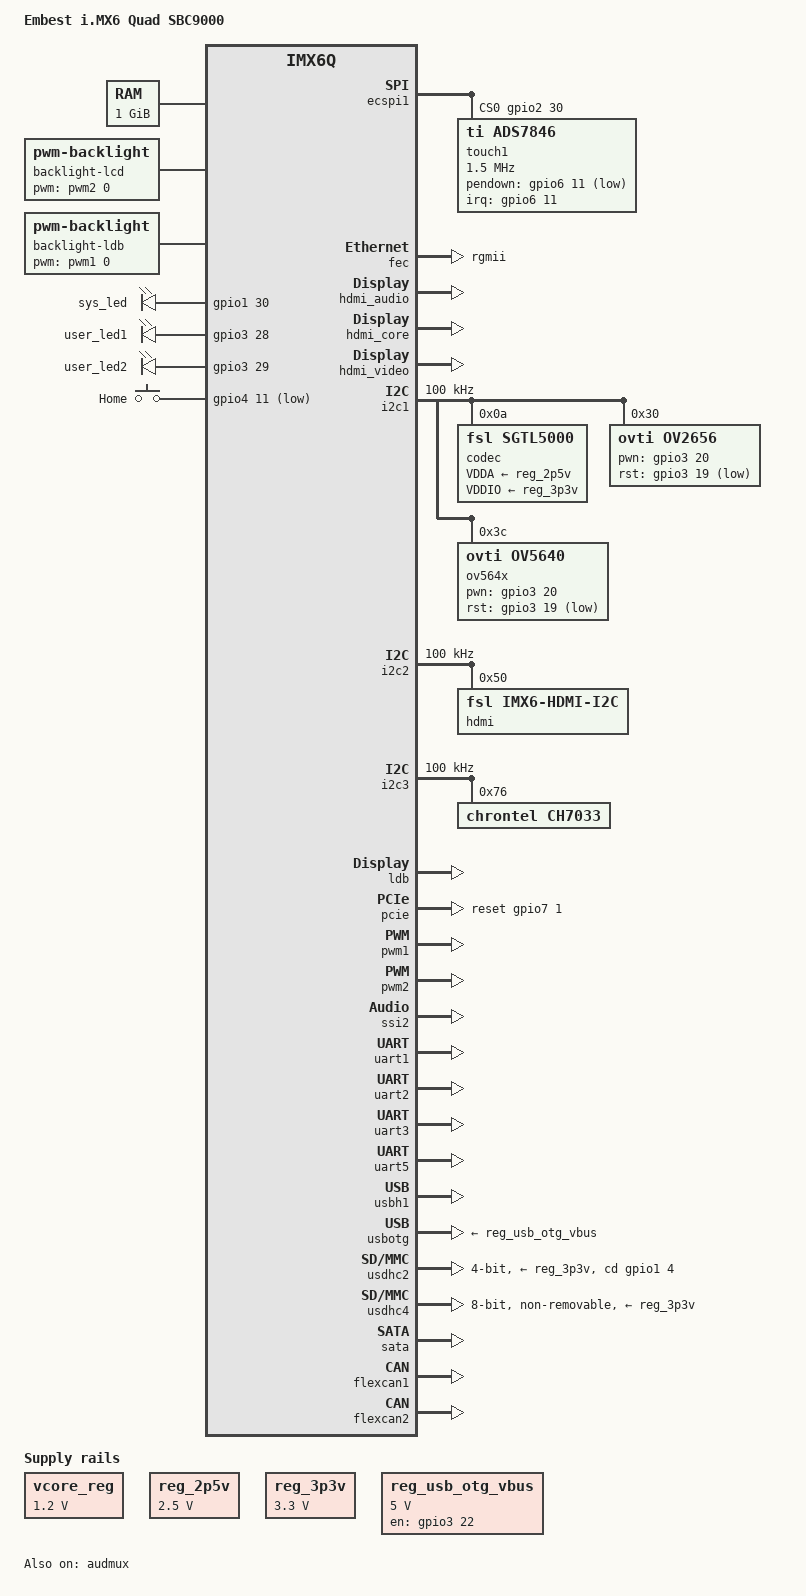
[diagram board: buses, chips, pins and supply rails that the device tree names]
/*
 * Copyright 2013 Timesys
 * Copyright 2012 Freescale Semiconductor, Inc.
 * Copyright 2011 Linaro Ltd.
 *
 * The code contained herein is licensed under the GNU General Public
 * License. You may obtain a copy of the GNU General Public License
 * Version 2 or later at the following locations:
 *
 * http://www.opensource.org/licenses/gpl-license.html
 * http://www.gnu.org/copyleft/gpl.html
 */

/dts-v1/;

#include "imx6q.dtsi"

/ {
        model = "Embest i.MX6 Quad SBC9000";
        compatible = "fsl,imx6q-sbc9000", "fsl,imx6q";

	aliases {
		mxcfb0 = &mxcfb1;
		mxcfb1 = &mxcfb2;
		mxcfb2 = &mxcfb3;
		mxcfb3 = &mxcfb4;
	};

	memory {
		reg = <0x10000000 0x40000000>;
	};

	regulators {
		compatible = "simple-bus";

		vcore_reg: vcore {
			compatible = "regulator-fixed";
			regulator-name = "vcore";
			regulator-min-microvolt = <1200000>;
			regulator-max-microvolt = <1200000>;
		};

                reg_2p5v: 2p5v {
                        compatible = "regulator-fixed";
                        regulator-name = "2P5V";
                        regulator-min-microvolt = <2500000>;
                        regulator-max-microvolt = <2500000>;
                        regulator-always-on;
                };

                reg_3p3v: 3p3v {
                        compatible = "regulator-fixed";
                        regulator-name = "3P3V";
                        regulator-min-microvolt = <3300000>;
                        regulator-max-microvolt = <3300000>;
                        regulator-always-on;
                };

		reg_usb_otg_vbus: usb_otg_vbus {
			compatible = "regulator-fixed";
			regulator-name = "usb_otg_vbus";
			regulator-min-microvolt = <5000000>;
			regulator-max-microvolt = <5000000>;
			gpio = <&gpio3 22 0>;
			enable-active-high;
		};

	};

	sound-hdmi {
		compatible = "fsl,imx6q-audio-hdmi",
			     "fsl,imx-audio-hdmi";
		model = "imx-audio-hdmi";
		hdmi-controller = <&hdmi_audio>;
	};

        sound {
                compatible = "fsl,imx6q-sbc9000-sgtl5000",
                             "fsl,imx-audio-sgtl5000";
                model = "imx6q-sgtl5000";
                ssi-controller = <&ssi2>;
                audio-codec = <&codec>;
                audio-routing =
                        "MIC_IN", "Mic Jack",
                        "Mic Jack", "Mic Bias",
                        "Headphone Jack", "HP_OUT";
                mux-int-port = <2>;
                mux-ext-port = <3>;
        };

	mxcfb1: fb@0 {
                compatible = "fsl,mxc_sdc_fb";
                disp_dev = "lcd";
                interface_pix_fmt = "RGB24";
                mode_str ="4.3inch_LCD";
                default_bpp = <32>;
                int_clk = <0>;
                late_init = <0>;
                status = "disabled";
	};

	mxcfb2: fb@1 {
                compatible = "fsl,mxc_sdc_fb";
                disp_dev = "ldb";
                interface_pix_fmt = "RGB666";
                mode_str ="LDB-XGA";
                default_bpp = <16>;
                int_clk = <0>;
                late_init = <0>;
                status = "disabled";
	};

	mxcfb3: fb@2 {
		compatible = "fsl,mxc_sdc_fb";
		disp_dev = "lcd";
		interface_pix_fmt = "RGB24";
		mode_str ="4.3inch_LCD";
		default_bpp = <32>;
		int_clk = <0>;
		late_init = <0>;
		status = "disabled";
	};

        mxcfb4: fb@3 {
                compatible = "fsl,mxc_sdc_fb";
                disp_dev = "ldb";
                interface_pix_fmt = "RGB666";
                mode_str ="LDB-XGA";
                default_bpp = <16>;
                int_clk = <0>;
                late_init = <0>;
                status = "disabled";
        };

	lcd@0 {
		compatible = "fsl,lcd";
		ipu_id = <0>;
		disp_id = <0>;
		default_ifmt = "RGB565";
		pinctrl-names = "default";
		pinctrl-0 = <&pinctrl_ipu1_1>;
		status = "okay";
	};

        backlight-lcd {
                compatible = "pwm-backlight";
                pwms = <&pwm2 0 5000000>;
                brightness-levels = <0 4 8 16 32 64 128 255>;
                default-brightness-level = <7>;
        };

        backlight-ldb {
                        compatible = "pwm-backlight";
                        pwms = <&pwm1 0 5000000>;
                        brightness-levels = <0 4 8 16 32 64 128 255>;
                        default-brightness-level = <7>;
        };

	/* There are camera connect pins on the expansion port */
	v4l2_cap_0 {
		compatible = "fsl,imx6q-v4l2-capture";
		ipu_id = <0>;
		csi_id = <0>;
		mclk_source = <0>;
		status = "okay";
	};

	v4l2_out {
		compatible = "fsl,mxc_v4l2_output";
		status = "okay";
	};

	hannstar_cabc {
		compatible = "hannstar,cabc";

		lvds0 {
			gpios = <&gpio7 12 GPIO_ACTIVE_HIGH>;
		};
	};


	leds {
		compatible = "gpio-leds";

                sys_led {
                        label = "sys_led";
                        gpios = <&gpio1 30 GPIO_ACTIVE_HIGH>;
                        linux,default-trigger = "heartbeat";
                };
                user_led1 {
                        label = "user_led1";
                        gpios = <&gpio3 28 GPIO_ACTIVE_HIGH>;
                };
                user_led2 {
                        label = "user_led2";
                        gpios = <&gpio3 29 GPIO_ACTIVE_HIGH>;
                };

	};

        gpio-keys {
                compatible = "gpio-keys";
                home {
                        label = "Home";
                        gpios = <&gpio4 11 1>;
                        linux,code = <102>; /* KEY_HOME */
                        gpio-key,wakeup;
                };

        };

};

&audmux {
	pinctrl-names = "default";
	pinctrl-0 = <&pinctrl_audmux_2>;
	status = "okay";
};

&cpu0 {
	arm-supply = <&reg_arm>;
	soc-supply = <&reg_soc>;
	pu-supply = <&reg_pu>;
};

&ecspi1 {
	fsl,spi-num-chipselects = <2>;
	cs-gpios = <&gpio2 30 0>, <&gpio4 10 0>;
	pinctrl-names = "default";
	pinctrl-0 = <&pinctrl_ecspi1_1>;
	status = "okay";

	touch1: ads7846@0 {
		#address-cells = <1>;
		#size-cells = <1>;
		compatible = "ti,ads7846";
		interrupt-parent = <&gpio6>;
		interrupts = <11 2>;
		spi-max-frequency = <1500000>;
		reg = <0>;

		ti,settle-delay-usec = /bits/ 16 <150>;
		ti,keep-vref-on = /bits/ 16 <1>;
		ti,swap-xy = /bits/ 16 <1>;
		ti,x-min = /bits/ 16 <0>;
		ti,x-max = /bits/ 16 <4095>;
		ti,y-min = /bits/ 16 <0>;
		ti,y-max = /bits/ 16 <4095>;
		ti,debounce-rep = /bits/ 16 <1>;
		ti,debounce-tol = /bits/ 16 <5>;
		ti,debounce-max = /bits/ 16 <10>;
		linux,wakeup;
		pendown-gpio = <&gpio6 11 GPIO_ACTIVE_LOW>;
	};
};

&fec {
	pinctrl-names = "default";
	pinctrl-0 = <&pinctrl_enet_1>;
	phy-mode = "rgmii";
	status = "okay";
};

&gpc {
	fsl,cpu_pupscr_sw2iso = <0xf>;
	fsl,cpu_pupscr_sw = <0xf>;
	fsl,cpu_pdnscr_iso2sw = <0x1>;
	fsl,cpu_pdnscr_iso = <0x1>;
	fsl,ldo-bypass = <1>; /* use ldo-bypass, u-boot will check it and configure */
	pu-supply = <&reg_pu>;
};

&gpu {
	pu-supply = <&reg_pu>;
};

&hdmi_audio {
	status = "okay";
};

&hdmi_core {
	ipu_id = <0>;
	disp_id = <0>;
	status = "okay";
};

&hdmi_video {
	fsl,phy_reg_vlev = <0x0294>;
	fsl,phy_reg_cksymtx = <0x800d>;
	status = "okay";
};

&i2c1 {
	clock-frequency = <100000>;
	pinctrl-names = "default";
	pinctrl-0 = <&pinctrl_i2c1_2>;
	status = "okay";

        codec: sgtl5000@0a {
                compatible = "fsl,sgtl5000";
                reg = <0x0a>;
                clocks = <&clks 201>;
                VDDA-supply = <&reg_2p5v>;
                VDDIO-supply = <&reg_3p3v>;
        };

	ov2656: ov2656@30 {
		compatible = "ovti,ov2656";
		reg = <0x30>;
		pinctrl-names = "default";
		pinctrl-0 = <&pinctrl_ipu1_2>;
		clocks = <&clks 201>;
		clock-names = "csi_mclk";
		pwn-gpios = <&gpio3 20 GPIO_ACTIVE_HIGH>;   /* active high */
		rst-gpios = <&gpio3 19 GPIO_ACTIVE_LOW>;   /* active low */
		csi_id = <0>;
		mclk = <24000000>;
		mclk_source = <0>;
	};

	ov564x: ov5640@3c {
		compatible = "ovti,ov5640";
		reg = <0x3c>;
                pinctrl-names = "default";
                pinctrl-0 = <&pinctrl_ipu1_2>;
		clocks = <&clks 201>;
		clock-names = "csi_mclk";
		pwn-gpios = <&gpio3 20 GPIO_ACTIVE_HIGH>;   /* active high */
		rst-gpios = <&gpio3 19 GPIO_ACTIVE_LOW>;   /* active low */
		csi_id = <0>;
		mclk = <24000000>;
		mclk_source = <0>;
	};
};

&i2c2 {
	clock-frequency = <100000>;
	pinctrl-names = "default";
	pinctrl-0 = <&pinctrl_i2c2_2>;
	status = "okay";

	hdmi: edid@50 {
		compatible = "fsl,imx6-hdmi-i2c";
		reg = <0x50>;
	};
};

&i2c3 {
        clock-frequency = <100000>;
        pinctrl-names = "default";
        pinctrl-0 = <&pinctrl_i2c3_5>;
        status = "okay";

        ch7033@76 {
                compatible = "chrontel,ch7033";
                reg = <0x76>;
        };
};

&iomuxc {
	pinctrl-names = "default";
	pinctrl-0 = <&pinctrl_hog_1>;

	hog {
		pinctrl_hog_1: hoggrp-1 {
			fsl,pins = <
                                /* SPI1 CS0 */
                                MX6QDL_PAD_EIM_EB2__GPIO2_IO30  0x80000000
                                /* SPI1_CS1 */
                                MX6QDL_PAD_KEY_COL2__GPIO4_IO10 0x80000000
                                /* LEDS */
                                MX6QDL_PAD_ENET_TXD0__GPIO1_IO30 0x80000000
                                MX6QDL_PAD_EIM_D28__GPIO3_IO28   0x80000000
                                MX6QDL_PAD_EIM_D29__GPIO3_IO29   0x80000000
                                /* ADS7846 TOUCH INT */
                                MX6QDL_PAD_NANDF_CS0__GPIO6_IO11 0x80000000
                                /* ENET RESET */
                                MX6QDL_PAD_EIM_D31__GPIO3_IO31  0x80000000
                                /* csi */
                                MX6QDL_PAD_EIM_D19__GPIO3_IO19 0x80000000
                                MX6QDL_PAD_EIM_D20__GPIO3_IO20 0x80000000
                                /* CAM_CLK for audio & camera */
                                MX6QDL_PAD_GPIO_0__CCM_CLKO1    0x80000000
                                /* USB OTG power pin */
                                MX6QDL_PAD_EIM_D22__USB_OTG_PWR  0x80000000
                                MX6QDL_PAD_EIM_D21__USB_OTG_OC   0x80000000
                                MX6QDL_PAD_EIM_D30__USB_H1_OC    0x80000000
                                /* USDHC2 IRQ */
                                MX6QDL_PAD_GPIO_4__GPIO1_IO04   0x80000000
                                /* USDHC4 RESET */
                                MX6QDL_PAD_NANDF_ALE__GPIO6_IO08 0x80000000
                                /* BUTTON */
                                MX6QDL_PAD_KEY_ROW2__GPIO4_IO11 0x80000000
                                /* PCIE */
                                MX6QDL_PAD_SD3_DAT4__GPIO7_IO01 0x1f0b0
                                MX6QDL_PAD_SD3_DAT2__GPIO7_IO06 0x80000000
                                MX6QDL_PAD_ENET_RXD0__GPIO1_IO27 0x80000000
                                /* CAPACITIVE LED POWER_EN */
                                MX6QDL_PAD_GPIO_17__GPIO7_IO12 0x80000000
                                /* CAPACITIVE TOUCH INT */
                                MX6QDL_PAD_NANDF_CS1__GPIO6_IO14 0x80000000
                                /* CAPACITIVE LCD POWER_EN */
                                MX6QDL_PAD_ENET_TXD1__GPIO1_IO29 0x80000000

			>;
		};
	};
};

&ldb {
	ipu_id = <1>;
	disp_id = <1>;
	ext_ref = <1>;
	mode = "sep0";
	/*
	 * On the SBC9000, only LDB0 is connected.  However, the LDB
	 * driver requires that sec_ipu_id and sec_disp_id are declared.
	 * This will result in a second LDB display being registered.
	 */
	sec_ipu_id = <1>;
	sec_disp_id = <0>;
	status = "okay";
};

&pcie {
	reset-gpio=<&gpio7 1 0>;
	wake-up-gpio=<&gpio1 27 0>;
	disable-gpio=<&gpio7 6 0>;
	status = "okay";
};


&pwm1 {
	pinctrl-names = "default";
	pinctrl-0 = <&pinctrl_pwm1_2>;
	status = "okay";
};

&pwm2 {
        pinctrl-names = "default";
        pinctrl-0 = <&pinctrl_pwm2_1>;
        status = "okay";
};

&ssi2 {
	fsl,mode = "i2s-slave";
	status = "okay";
};

/* UART 1 is connected to the expansion port */
&uart1 {
	pinctrl-names = "default";
	pinctrl-0 = <&pinctrl_uart1_3>;
	status = "okay";
};

/* UART 2 is the debug/console port */
&uart2 {
	pinctrl-names = "default";
	pinctrl-0 = <&pinctrl_uart2_3>;
	status = "okay";
};

/* UART 3 is connected to the expansion port */
&uart3 {
	pinctrl-names = "default";
	pinctrl-0 = <&pinctrl_uart3_3>;
	status = "okay";
};

&uart5 {
	pinctrl-names = "default";
	pinctrl-0 = <&pinctrl_uart5_1>;
	status = "okay";
};

&usbh1 {
	status = "okay";
};

&usbotg {
	vbus-supply = <&reg_usb_otg_vbus>;
	pinctrl-names = "default";
	pinctrl-0 = <&pinctrl_usbotg_2>;
	disable-over-current;
	status = "okay";
};

&usdhc2 {
        pinctrl-names = "default";
        pinctrl-0 = <&pinctrl_usdhc2_2>;
        cd-gpios = <&gpio1 4 0>;
        vmmc-supply = <&reg_3p3v>;
        bus-width = <4>;
        no-1-8-v;
        keep-power-in-suspend;
        enable-sdio-wakeup;
        status = "okay";
};

&usdhc4 {
        pinctrl-names = "default";
        pinctrl-0 = <&pinctrl_usdhc4_1>;
        vmmc-supply = <&reg_3p3v>;
        bus-width = <8>;
        non-removable;
        no-1-8-v;
        keep-power-in-suspend;
        status = "okay";
};

&vpu {
	pu-supply = <&reg_pu>;
};

&mxcfb1 {
	status = "okay";
};

&mxcfb2 {
	status = "okay";
};

&sata {
	status = "okay";
};


/*
 * CAN1 is connected to the expansion port.
 * 
 */
&flexcan1{
        pinctrl-names = "default";
        pinctrl-0 = <&pinctrl_flexcan1_3>;
	status = "okay";
};

/*
 * CAN2 is connected to the expansion port.
 * 
 */
&flexcan2{
        pinctrl-names = "default";
        pinctrl-0 = <&pinctrl_flexcan2_1>;
	status = "okay";
};

